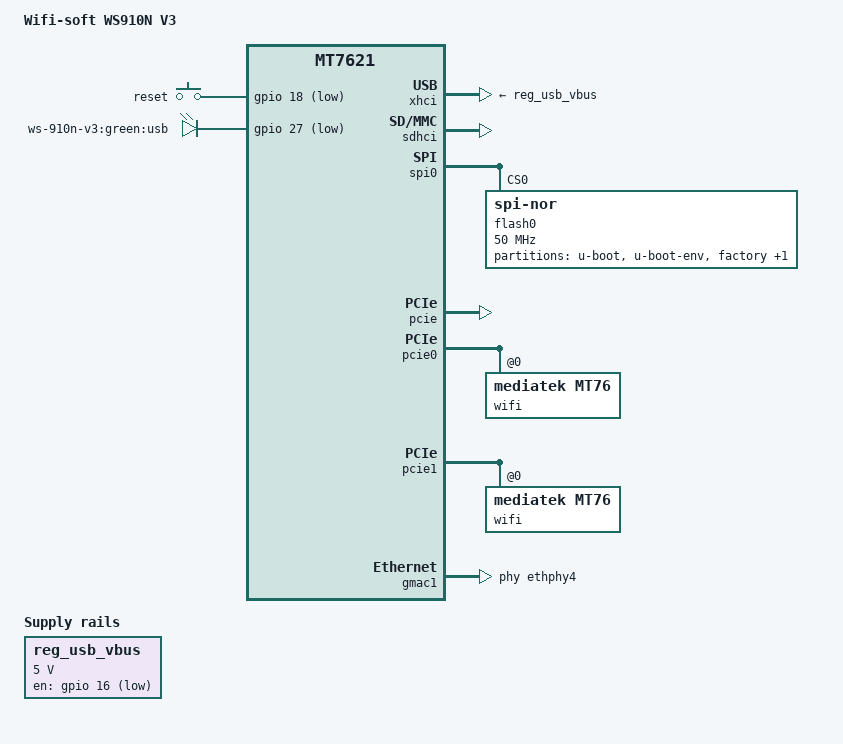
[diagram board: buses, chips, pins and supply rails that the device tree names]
// SPDX-License-Identifier: GPL-2.0-or-later OR MIT
/*
 * Copyright (c) 2026, Shubham Vishwakarma <shubhamvis98@fossfrog.in>
 */

#include "mt7621.dtsi"

#include <dt-bindings/gpio/gpio.h>
#include <dt-bindings/input/input.h>
#include <dt-bindings/leds/common.h>

/ {
	compatible = "ws-910n-v3", "mediatek,mt7621-soc";
	model = "Wifi-soft WS910N V3";

	aliases {
		label-mac-device = &gmac0;
	};

	chosen {
		bootargs = "console=ttyS0,57600";
	};

	keys {
		compatible = "gpio-keys";

		reset {
			label = "reset";
			gpios = <&gpio 18 GPIO_ACTIVE_LOW>;
			linux,code = <KEY_RESTART>;
		};
	};

	leds {
		compatible = "gpio-leds";

		usb {
			label = "ws-910n-v3:green:usb";
			gpios = <&gpio 27 GPIO_ACTIVE_LOW>;
		};
	};

	reg_usb_vbus: regulator-usb {
		compatible = "regulator-fixed";
		regulator-name = "usb_vbus";
		regulator-min-microvolt = <5000000>;
		regulator-max-microvolt = <5000000>;
		gpios = <&gpio 16 GPIO_ACTIVE_LOW>;
		regulator-boot-on;
		regulator-always-on;
	};
};

&xhci {
	vbus-supply = <&reg_usb_vbus>;
};

&sdhci {
	status = "okay";
};

&spi0 {
	status = "okay";

	flash0: flash@0 {
		compatible = "jedec,spi-nor";
		reg = <0>;
		spi-max-frequency = <50000000>;

		partitions {
			compatible = "fixed-partitions";
			#address-cells = <1>;
			#size-cells = <1>;

			partition@0 {
				label = "u-boot";
				reg = <0x0 0x30000>;
				read-only;
			};

			partition@30000 {
				label = "u-boot-env";
				reg = <0x30000 0x10000>;
				read-only;
			};

			partition@40000 {
				label = "factory";
				reg = <0x40000 0x10000>;
				read-only;

				nvmem-layout {
					compatible = "fixed-layout";
					#address-cells = <1>;
					#size-cells = <1>;

					macaddr_factory_4: macaddr@4 {
						reg = <0x4 0x6>;
					};

					eeprom_factory_0: eeprom@0 {
						reg = <0x0 0x200>;
					};

					eeprom_factory_8000: eeprom@8000 {
						reg = <0x8000 0x200>;
					};
				};
			};

			partition@50000 {
				compatible = "denx,uimage";
				label = "firmware";
				reg = <0x50000 0xfb0000>;
			};
		};
	};
};

&pcie {
	status = "okay";
};

&pcie0 {
	wifi@0,0 {
		compatible = "mediatek,mt76";
		reg = <0x0000 0 0 0 0>;
		nvmem-cells = <&eeprom_factory_0>, <&macaddr_factory_4>;
		nvmem-cell-names = "eeprom", "mac-address";
	};
};

&pcie1 {
	wifi@0,0 {
		compatible = "mediatek,mt76";
		reg = <0x0000 0 0 0 0>;
		nvmem-cells = <&eeprom_factory_8000>;
		nvmem-cell-names = "eeprom";
		ieee80211-freq-limit = <5000000 6000000>;
	};
};

&gmac0 {
	nvmem-cells = <&macaddr_factory_4>;
	nvmem-cell-names = "mac-address";
};

&gmac1 {
	status = "okay";
	label = "wan";
	phy-handle = <&ethphy4>;

	nvmem-cells = <&macaddr_factory_4>;
	nvmem-cell-names = "mac-address";
	mac-address-increment = <2>;
};

&ethphy4 {
	/delete-property/ interrupts;
};

&switch0 {
	ports {
		port@2 {
			status = "okay";
			label = "lan1";
		};

		port@3 {
			status = "okay";
			label = "lan2";
		};
	};
};

&state_default {
	gpio {
		groups = "wdt", "uart2", "jtag";
		function = "gpio";
	};
};

